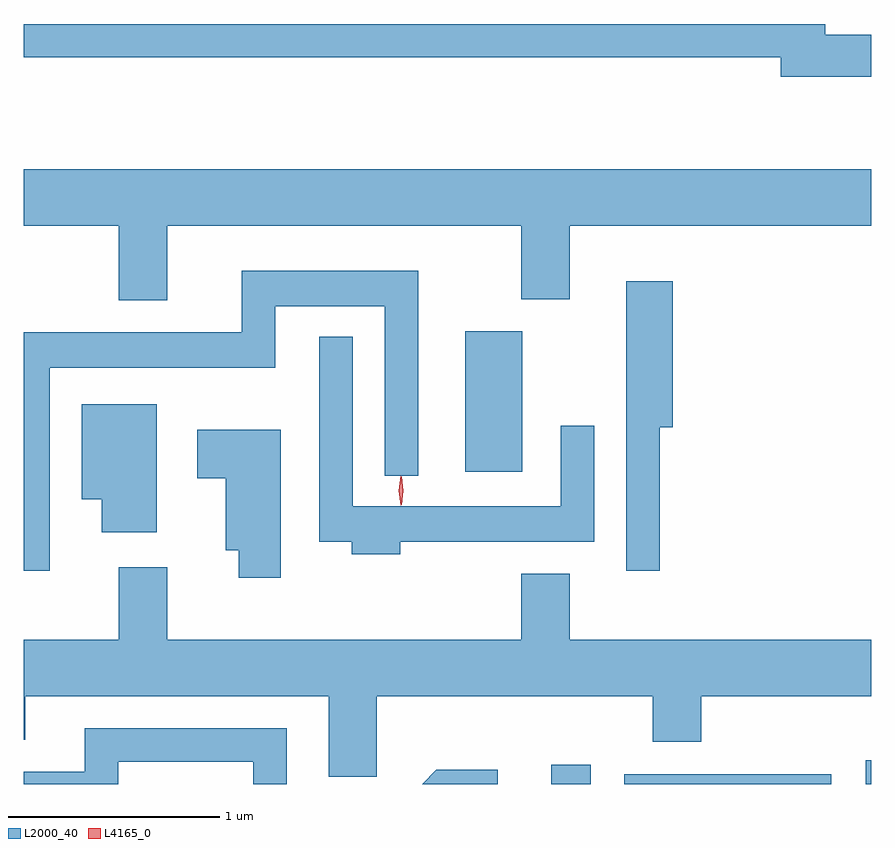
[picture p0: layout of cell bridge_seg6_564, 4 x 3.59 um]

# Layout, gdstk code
import gdstk
lib = gdstk.Library(unit=1e-6, precision=1e-09)
def R(c, l, rs):  # rectangles x0, y0, x1, y1
    for r in rs: c.add(gdstk.rectangle(r[:2], r[2:], *l))
def P(c, l, *ps):  # polygons
    for p in ps: c.add(gdstk.Polygon(p, *l))
L2000_40 = (2000, 40)
L4165_0 = (4165, 0)

bridge_seg6_564 = lib.new_cell('bridge_seg6_564')
R(bridge_seg6_564, L2000_40, [(442.841,1631.762,443.029,1631.854), (443.186,1631.762,444.164,1631.809), (444.326,1631.762,444.352,1631.874), (442.436,1633.236,442.704,1633.899)])
P(bridge_seg6_564, L2000_40, [(444.352,1635.299),(444.134,1635.299),(444.134,1635.349),(440.352,1635.349),(440.352,1635.191),(443.926,1635.191),(443.926,1635.101),(444.352,1635.101)],
  [(441.029,1634.396),(442.701,1634.396),(442.701,1634.051),(442.929,1634.051),(442.929,1634.396),(444.352,1634.396),(444.352,1634.664),(440.352,1634.664),(440.352,1634.396),(440.801,1634.396),(440.801,1634.046),(441.029,1634.046)],
  [(440.474,1633.726),(441.539,1633.726),(441.539,1634.016),(442.056,1634.016),(442.056,1633.218),(442.214,1633.218),(442.214,1634.184),(441.381,1634.184),(441.381,1633.894),(440.352,1633.894),(440.352,1632.768),(440.474,1632.768)],
  [(443.354,1633.446),(443.414,1633.446),(443.414,1634.134),(443.196,1634.134),(443.196,1632.768),(443.354,1632.768)],
  [(442.129,1632.906),(443.044,1632.906),(443.044,1633.453),(442.886,1633.453),(442.886,1633.074),(441.904,1633.074),(441.904,1633.873),(441.746,1633.873),(441.746,1632.906),(441.901,1632.906),(441.901,1632.846),(442.129,1632.846)],
  [(440.979,1633.554),(440.626,1633.554),(440.626,1633.106),(440.721,1633.106),(440.721,1632.951),(440.979,1632.951)],
  [(441.564,1633.434),(441.171,1633.434),(441.171,1633.206),(441.306,1633.206),(441.306,1632.866),(441.366,1632.866),(441.366,1632.736),(441.564,1632.736)],
  [(442.929,1632.754),(442.701,1632.754),(442.701,1632.444),(441.029,1632.444),(441.029,1632.784),(440.801,1632.784),(440.801,1632.444),(440.352,1632.444),(440.352,1631.971),(440.359,1631.971),(440.359,1632.176),(441.791,1632.176),(441.791,1631.796),(442.019,1631.796),(442.019,1632.176),(443.321,1632.176),(443.321,1631.961),(443.549,1631.961),(443.549,1632.176),(444.352,1632.176),(444.352,1632.444),(442.929,1632.444)],
  [(440.799,1631.866),(441.436,1631.866),(441.436,1631.762),(441.594,1631.762),(441.594,1632.024),(440.641,1632.024),(440.641,1631.819),(440.352,1631.819),(440.352,1631.762),(440.799,1631.762)],
  [(442.588,1631.829),(442.299,1631.829),(442.232,1631.762),(442.588,1631.762)])
P(bridge_seg6_564, L4165_0, [(442.132,1633.077),(442.131,1633.078),(442.122,1633.147),(442.131,1633.216),(442.132,1633.216),(442.132,1633.216),(442.142,1633.147),(442.132,1633.078)],
  [(442.135,1633.079),(442.134,1633.08),(442.125,1633.146),(442.134,1633.212),(442.134,1633.213),(442.135,1633.212),(442.144,1633.146),(442.135,1633.08)])

lib.write_gds('bridge_seg6_564.gds')
